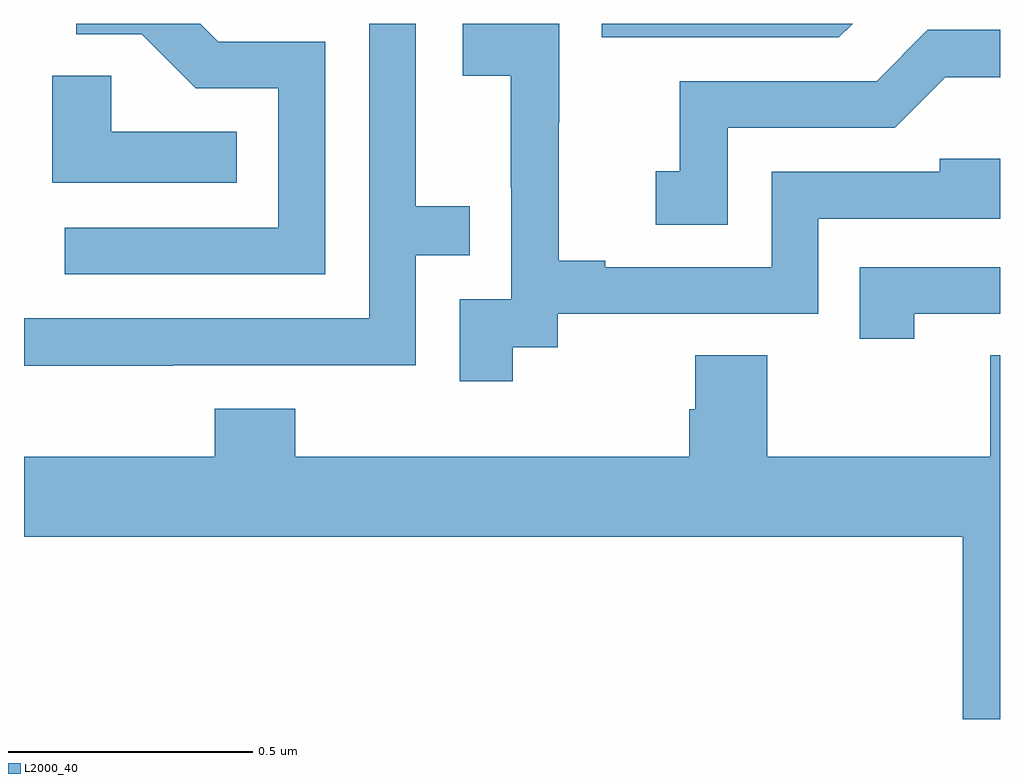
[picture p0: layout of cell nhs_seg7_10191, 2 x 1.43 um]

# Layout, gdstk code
import gdstk
lib = gdstk.Library(unit=1e-6, precision=1e-09)
def P(c, l, *ps):  # polygons
    for p in ps: c.add(gdstk.Polygon(p, *l))
L2000_40 = (2000, 40)

nhs_seg7_10191 = lib.new_cell('nhs_seg7_10191')
P(nhs_seg7_10191, L2000_40, [(247.307,1002.3),(247.803,1002.3),(247.803,1002.525),(247.913,1002.525),(247.913,1002.626),(247.803,1002.626),(247.803,1003),(247.707,1003),(247.707,1002.396),(247,1002.396),(247,1002.299),(247.307,1002.299)],
  [(248.698,1003),(248.184,1003),(248.184,1002.972),(248.67,1002.972)],
  [(248.002,1002.337),(248.094,1002.337),(248.094,1002.405),(248.628,1002.405),(248.628,1002.6),(249,1002.6),(249,1002.723),(248.877,1002.723),(248.877,1002.696),(248.532,1002.696),(248.532,1002.501),(248.191,1002.501),(248.191,1002.514),(248.096,1002.514),(248.096,1002.797),(248.097,1002.797),(248.097,1003),(247.899,1003),(247.899,1002.893),(247.997,1002.893),(247.997,1002.665),(247.998,1002.665),(247.998,1002.435),(247.893,1002.435),(247.893,1002.267),(248.002,1002.267)],
  [(247.617,1002.963),(247.398,1002.963),(247.361,1003),(247.107,1003),(247.107,1002.978),(247.241,1002.978),(247.352,1002.867),(247.521,1002.867),(247.521,1002.582),(247.083,1002.582),(247.083,1002.486),(247.617,1002.486)],
  [(248.442,1002.786),(248.784,1002.786),(248.888,1002.89),(249,1002.89),(249,1002.987),(248.852,1002.987),(248.747,1002.882),(248.344,1002.882),(248.344,1002.697),(248.295,1002.697),(248.295,1002.588),(248.442,1002.588)],
  [(247.436,1002.778),(247.179,1002.778),(247.179,1002.893),(247.058,1002.893),(247.058,1002.674),(247.436,1002.674)],
  [(248.824,1002.405),(249,1002.405),(249,1002.501),(248.713,1002.501),(248.713,1002.354),(248.824,1002.354)],
  [(249,1002.32),(248.98,1002.32),(248.98,1002.112),(248.523,1002.112),(248.523,1002.32),(248.375,1002.32),(248.375,1002.21),(248.363,1002.21),(248.363,1002.112),(247.556,1002.112),(247.556,1002.211),(247.391,1002.211),(247.391,1002.112),(247,1002.112),(247,1001.948),(248.924,1001.948),(248.924,1001.574),(249,1001.574)])

lib.write_gds('nhs_seg7_10191.gds')
